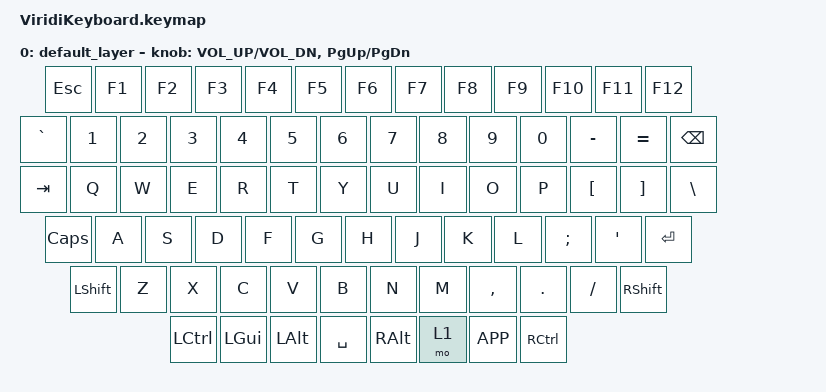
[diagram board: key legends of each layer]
#include <behaviors.dtsi>
#include <dt-bindings/zmk/keys.h>

/ {
    keymap {
        compatible = "zmk,keymap";

        default_layer {
// --------------------------------------------------------------------------------------------------------------------------
// |  ESC  |  F1   |  F2   |  F3   |  F4   |  F5   |  F6   |  F7   |  F8   |  F9   |  F10  |  F11  |  F12  |
// |   `   |   1   |   2   |   3   |   4   |   5   |   6   |   7   |   8   |   9   |   0   |   -   |   =   |  BAC   | 
// |  TAB  |   Q   |   W   |   E   |   R   |   T   |   Y   |   U   |   I   |   O   |   P   |   [   |   ]   |
// |  CPS  |   A   |   S   |   D   |   F   |   G   |   H   |   J   |   K   |   L   |   ;   |   '   |   \   |   ENT  |
// |  SFT  |   Z   |   X   |   C   |   V   |   B   |   N   |   M   |   ,   |   .   |   /   |  SFT  | 
// |  CTL  |   WIN |   ALT |                SPACE                  |   ALT |   FN  |  MENU |  CTL  |
// --------------------------------------------------------------------------------------------------------------------------
            bindings = <
    &kp ESC  &kp F1  &kp F2  &kp F3  &kp F4  &kp F5  &kp F6  &kp F7  &kp F8  &kp F9  &kp F10 &kp F11 &kp F12
    &kp GRAVE &kp N1 &kp N2 &kp N3 &kp N4 &kp N5 &kp N6 &kp N7 &kp N8 &kp N9 &kp N0 &kp MINUS &kp EQUAL &kp BSPC
    &kp TAB  &kp Q  &kp W  &kp E  &kp R  &kp T  &kp Y  &kp U  &kp I  &kp O  &kp P  &kp LBKT &kp RBKT &kp BSLH
    &kp CAPS &kp A  &kp S  &kp D  &kp F  &kp G  &kp H  &kp J  &kp K  &kp L  &kp SEMI &kp SQT &kp ENTER
    &kp LSHFT &kp Z &kp X &kp C &kp V &kp B &kp N &kp M &kp COMMA &kp DOT &kp FSLH &kp RSHFT
    &kp LCTRL &kp LGUI &kp LALT &kp SPACE &kp RALT &mo 1 &kp K_APP &kp RCTRL
            >;

            sensor-bindings = <&inc_dec_kp C_VOL_UP C_VOL_DN &inc_dec_kp PG_UP PG_DN>;
        };


    };
};

